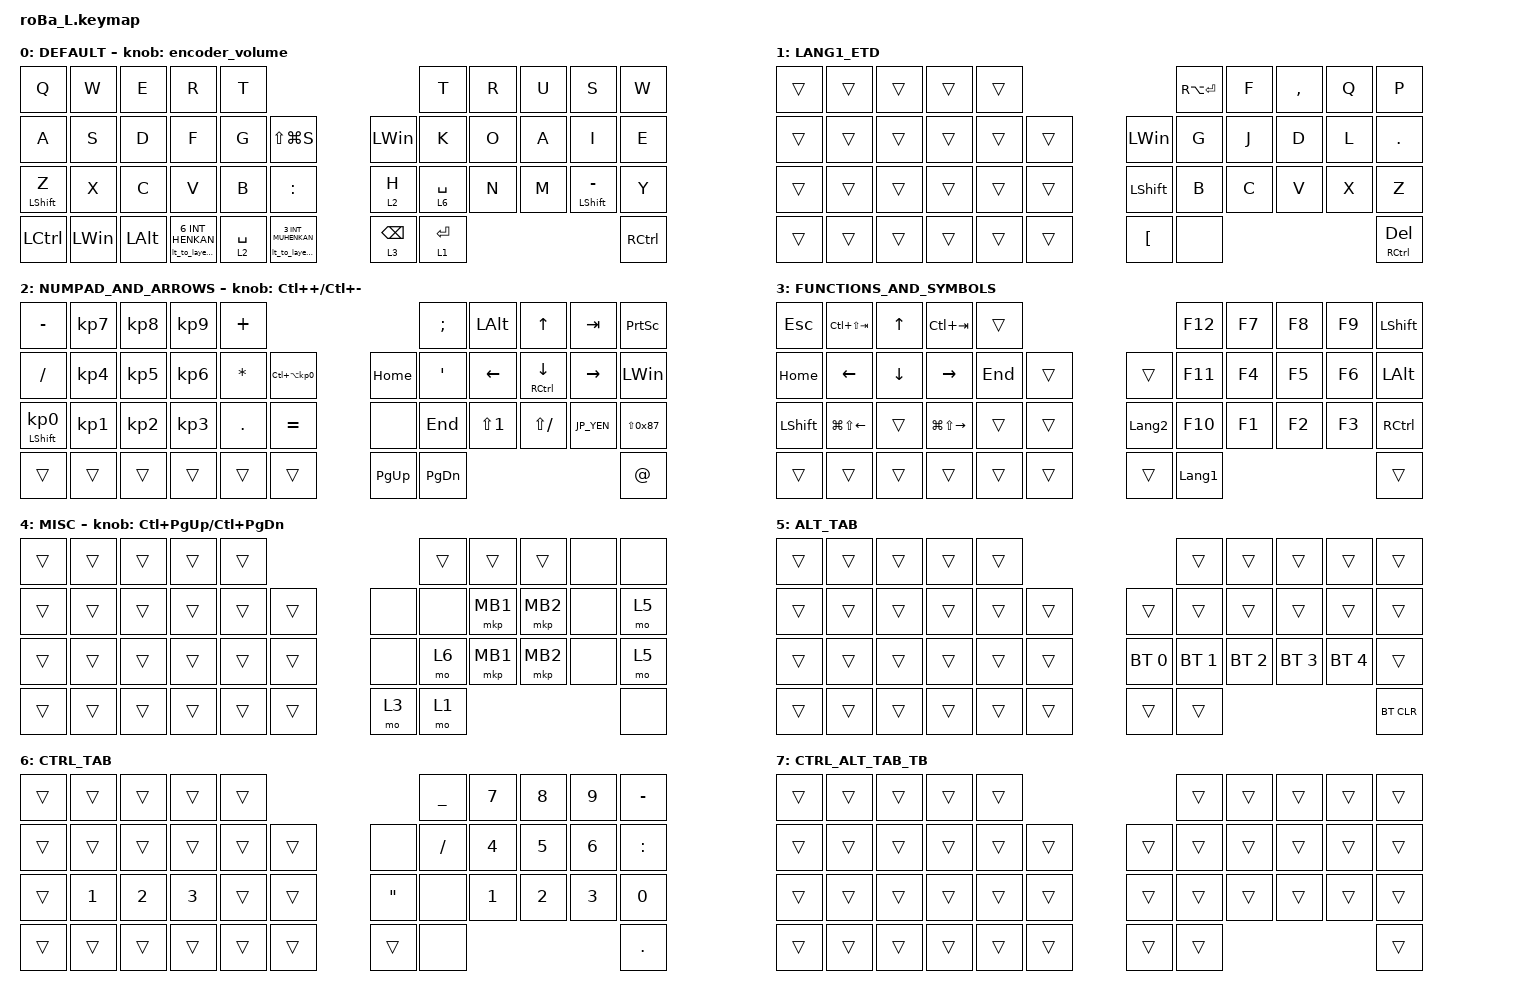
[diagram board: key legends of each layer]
#define ZMK_POINTING_DEFAULT_SCRL_VAL 100

// #define ZMK_POINTING_DEFAULT_MOVE_VAL 700

#include <input/processors.dtsi>
#include <behaviors/rgbled_widget.dtsi>
#include <behaviors.dtsi>
#include <dt-bindings/zmk/bt.h>
#include <dt-bindings/zmk/keys.h>
#include <dt-bindings/zmk/pointing.h>

#define DEFAULT 0
#define LANG1_ETD 1
#define NUMPAD_AND_ARROWS 2
#define FUNCTIONS_AND_SYMBOLS 3
#define MISC 4
#define ALT_TAB 5
#define CTRL_TAB 6
#define CTRL_ALT_TAB_TB 7
#define ALT_TAB_TB 8
#define CTRL_TAB_TB 9
#define MOUSE 10
#define MEDIA 11
#define EXTRA_FINCTIONS 12
#define CONFIGURATION 13

// OS設定を日本語キーボードのまま使用するための変換定義

#define JP_DQUOTE       AT                // "
#define JP_AMPERSAND    CARET             // &
#define JP_QUOTE        AMPERSAND         // '
#define JP_EQUAL        UNDER             // =
#define JP_CARET        EQUAL             // ^
#define JP_YEN          0x89              // ¥
#define JP_PLUS         COLON             // +
#define JP_TILDE        PLUS              // ~
#define JP_PIPE         LS(0x89)          // |
#define JP_AT           LEFT_BRACKET      // @
#define JP_COLON        SINGLE_QUOTE      // :
#define JP_ASTERISK     DOUBLE_QUOTES     // *
#define JP_BACKQUOTE    LEFT_BRACE        // `
#define JP_UNDERSCORE   LS(0x87)          // _
#define JP_LBRACKET     RIGHT_BRACKET     // [
#define JP_RBRACKET     BACKSLASH         // ]
#define JP_LPAREN       ASTERISK          // (
#define JP_RPAREN       LEFT_PARENTHESIS  // )
#define JP_LBRACE       RIGHT_BRACE       // {
#define JP_RBRACE       PIPE              // }
#define JP_KANA         LANGUAGE_1        // かな
#define JP_EISU         LANGUAGE_2        // 英数
#define JP_HANZEN       GRAVE             // 半角/全角

&mt {
    tapping-term-ms = <200>;
    quick-tap-ms = <250>;
    flavor = "balanced";
};

&lt {
    tapping-term-ms = <200>;
    quick-tap-ms = <250>;
    flavor = "balanced";
};

&sk { release-after-ms = <700>; };

&sl { release-after-ms = <1000>; };

&mkp_input_listener { input-processors = <&zip_temp_layer MOUSE 10000>; };

/ {
    layer_listeners {
        compatible = "zmk,layer-listeners";

        release_alt {
            layers = <ALT_TAB ALT_TAB_TB>;
            bindings = <&kt_on LEFT_ALT &kt_off LEFT_ALT>;
        };

        release_ctrl {
            layers = <CTRL_TAB CTRL_TAB_TB>;
            bindings = <&kt_on LCTRL &kt_off LCTRL>;
        };

        // AML_indicator {
        //     layers = <MOUSE>;
        //     bindings = <&kp LS(LA(LC(LG(H)))) &kp LS(LA(LC(LG(H))))>;
        // };
        // AML {
        //     layers = <MOUSE>;
        //     bindings = <&to MOUSE &none>;
        // };
    };

    combos {
        compatible = "zmk,combos";

        eq {
            bindings = <&kp EQUAL>;
            key-positions = <0 1>;
            layers = <2>;
        };

        Escape {
            bindings = <&kp ESCAPE>;
            key-positions = <0 1>;
        };

        hat {
            bindings = <&kp CARET>;
            key-positions = <10 11>;
            layers = <2>;
        };

        middle_click {
            bindings = <&mkp MCLK>;
            key-positions = <18 19>;
        };

        caps_word {
            bindings = <&caps_word>;
            key-positions = <22 33>;
        };

        dot_slash_backslash {
            bindings = <&kp BACKSLASH>;
            key-positions = <33 32>;
        };
    };

    macros {
        /omit-if-no-ref/

        exit_AML: exit_AML {
            compatible = "zmk,behavior-macro";
            wait-ms = <0>;
            tap-ms = <0>;
            #binding-cells = <0>;
            bindings = <&tog_off 0>;
        };

        /omit-if-no-ref/

        kp_exit_AML: kp_exit_AML {
            compatible = "zmk,behavior-macro-one-param";
            wait-ms = <0>;
            tap-ms = <0>;
            #binding-cells = <1>;
            bindings = <&macro_param_1to1 &kp MACRO_PLACEHOLDER &exit_AML>;
        };

        /omit-if-no-ref/

        mod_exit_AML: mod_exit_AML {
            compatible = "zmk,behavior-macro-one-param";
            wait-ms = <0>;
            tap-ms = <0>;
            #binding-cells = <1>;
            bindings =
                <&macro_press>,
                <&macro_param_1to1 &kp MACRO_PLACEHOLDER>,
                <&macro_tap>,
                <&exit_AML>,
                <&macro_pause_for_release>,
                <&macro_release>,
                <&macro_param_1to1 &kp MACRO_PLACEHOLDER>;
        };

        /omit-if-no-ref/

        mkp_exit_AML: mkp_exit_AML {
            compatible = "zmk,behavior-macro-one-param";
            #binding-cells = <1>;
            bindings =
                <&macro_press>,
                <&macro_param_1to1 &mkp MACRO_PLACEHOLDER>,
                <&macro_pause_for_release>,
                <&macro_release>,
                <&macro_param_1to1 &mkp MACRO_PLACEHOLDER>,
                <&macro_tap>,
                <&sl 0>;
        };

        /omit-if-no-ref/

        mo_exit_AML: mo_exit_AML {
            compatible = "zmk,behavior-macro-one-param";
            wait-ms = <0>;
            tap-ms = <0>;
            #binding-cells = <1>;
            bindings =
                <&macro_press>,
                <&macro_param_1to1 &mo MACRO_PLACEHOLDER>,
                <&macro_tap>,
                <&exit_AML>,
                <&macro_pause_for_release>,
                <&macro_release>,
                <&macro_param_1to1 &mo MACRO_PLACEHOLDER>,
                <&macro_tap>;
        };

        /omit-if-no-ref/

        mo_exit_alttab: mo_exit_alttab_ctrltab {
            compatible = "zmk,behavior-macro-one-param";
            wait-ms = <0>;
            tap-ms = <0>;
            #binding-cells = <1>;
            bindings =
                <&macro_press>,
                <&macro_param_1to1 &mo MACRO_PLACEHOLDER>,
                <&macro_tap>,
                <&macro_pause_for_release>,
                <&macro_release>,
                <&macro_param_1to1 &mo MACRO_PLACEHOLDER>,
                <&macro_tap>,
                <&tog_off 5 &tog_off 6>;
        };

        /omit-if-no-ref/

        kp_to: kp_to {
            compatible = "zmk,behavior-macro-two-param";
            wait-ms = <0>;
            tap-ms = <0>;
            #binding-cells = <2>;
            bindings = <&macro_param_1to1 &kp MACRO_PLACEHOLDER &macro_param_2to1 &to MACRO_PLACEHOLDER>;
        };

        /omit-if-no-ref/

        to_kp: to_kp {
            compatible = "zmk,behavior-macro-two-param";
            #binding-cells = <2>;
            bindings = <&macro_param_1to1 &to MACRO_PLACEHOLDER &macro_param_2to1 &kp MACRO_PLACEHOLDER>;
        };

        /omit-if-no-ref/

        zoom_in: zoom_in {
            compatible = "zmk,behavior-macro";
            #binding-cells = <0>;
            bindings = <&kt_on LCTRL &msc SCRL_UP &kt_off LCTRL>;
        };

        /omit-if-no-ref/

        zoom_out: zoom_out {
            compatible = "zmk,behavior-macro";
            #binding-cells = <0>;
            bindings = <&kt_on LCTRL &msc SCRL_DOWN &kt_off LCTRL>;
        };

        /omit-if-no-ref/

        eager_tap_dance: eager_tap_dance {
            compatible = "zmk,behavior-macro-two-param";
            #binding-cells = <2>;
            bindings =
                <&macro_press>,
                <&macro_param_1to1 &kp MACRO_PLACEHOLDER>,
                <&macro_pause_for_release>,
                <&macro_release>,
                <&macro_param_1to1 &kp MACRO_PLACEHOLDER>,
                <&macro_tap>,
                <&exit_AML &macro_param_2to1 &sl_250 MACRO_PLACEHOLDER>;
        };
    };

    behaviors {
        /omit-if-no-ref/

        tog_on: toggle_layer_on {
            compatible = "zmk,behavior-toggle-layer";
            #binding-cells = <1>;
            display-name = "Toggle Layer On";
            toggle-mode = "on";
        };

        /omit-if-no-ref/

        tog_off: toggle_layer_off {
            compatible = "zmk,behavior-toggle-layer";
            #binding-cells = <1>;
            display-name = "Toggle Layer Off";
            toggle-mode = "off";
        };

        /omit-if-no-ref/

        kt_on: key_toggle_on_only {
            compatible = "zmk,behavior-key-toggle";
            #binding-cells = <1>;
            display-name = "Key Toggle On";
            toggle-mode = "on";
        };

        /omit-if-no-ref/

        kt_off: key_toggle_off_only {
            compatible = "zmk,behavior-key-toggle";
            #binding-cells = <1>;
            display-name = "Key Toggle Off";
            toggle-mode = "off";
        };

        /omit-if-no-ref/

        td_right_click: td_right_click {
            compatible = "zmk,behavior-tap-dance";
            #binding-cells = <0>;
            bindings = <&mkp RCLK>, <&kp LC(W)>;

            tapping-term-ms = <250>;
        };

        /omit-if-no-ref/

        td_colon: td_colon {
            compatible = "zmk,behavior-tap-dance";
            #binding-cells = <0>;
            bindings = <&kp COLON>, <&kp SEMICOLON>;

            tapping-term-ms = <250>;
        };

        /omit-if-no-ref/

        td_q_escape: td_q_escape {
            compatible = "zmk,behavior-tap-dance";
            #binding-cells = <0>;
            tapping-term-ms = <250>;
            bindings = <&kp Q>, <&kp ESCAPE>;
        };

        /omit-if-no-ref/

        td_ZenkakuHankaku: td_ZenkakuHankaku {
            compatible = "zmk,behavior-tap-dance";

            // compatible = "zmk,behavior-eager-tap-dance";

            #binding-cells = <0>;
            tapping-term-ms = <250>;
            bindings = <&kp LANGUAGE_2>, <&kp LANGUAGE_1>;
        };

        /omit-if-no-ref/

        td_ZenkakuHankaku_exit_AML: td_ZenkakuHankaku_exit_AML {
            wait-ms = <0>;
            tap-ms = <0>;
            compatible = "zmk,behavior-macro";
            #binding-cells = <0>;
            bindings = <&td_ZenkakuHankaku &exit_AML>;
        };

        /omit-if-no-ref/

        alt_tab: alt_tab {
            compatible = "zmk,behavior-macro-two-param";
            #binding-cells = <2>;
            bindings = <&macro_param_1to1 &kt_on MACRO_PLACEHOLDER &macro_param_2to1 &kp MACRO_PLACEHOLDER &macro_param_1to1 &sk MACRO_PLACEHOLDER &macro_param_1to1 &kt_off MACRO_PLACEHOLDER>;
        };

        /omit-if-no-ref/

        windows_sleep: windows_sleep {
            compatible = "zmk,behavior-macro";
            wait-ms = <200>;
            tap-ms = <100>;
            #binding-cells = <0>;
            bindings = <&kp LG(X) &kp U &kp S>;
        };

        /omit-if-no-ref/

        screensot_save: screensot_save {
            compatible = "zmk,behavior-macro";
            #binding-cells = <0>;
            bindings = <&kp LS(F11)>;
            label = "SCREENSOT_SAVE";
        };

        /omit-if-no-ref/

        screenshot_copy: screenshot_copy {
            compatible = "zmk,behavior-mod-morph";
            bindings = <&kp LA(PRINTSCREEN)>, <&kp LA(PRINTSCREEN)>;

            #binding-cells = <0>;
            mods = <(MOD_LSFT|MOD_LALT)>;
            keep-mods = <(MOD_LALT)>;
        };

        /omit-if-no-ref/

        mod_morph_exclamation: mod_morph_exclamation {
            compatible = "zmk,behavior-mod-morph";
            bindings = <&kp COMMA>, <&kp EXCL>;

            #binding-cells = <0>;
            mods = <(MOD_LSFT)>;
        };

        /omit-if-no-ref/

        mod_morph_question: mod_morph_question {
            compatible = "zmk,behavior-mod-morph";
            bindings = <&kp PERIOD>, <&kp QUESTION>;

            #binding-cells = <0>;
            mods = <(MOD_LSFT)>;
        };

        /omit-if-no-ref/

        mod_morph_slash: mod_morph_slash {
            compatible = "zmk,behavior-mod-morph";
            bindings = <&kp SLASH>, <&kp BACKSLASH>;

            #binding-cells = <0>;
            mods = <(MOD_LSFT)>;
        };

        /omit-if-no-ref/

        td_alt_f4: td_alt_f4 {
            compatible = "zmk,behavior-tap-dance";
            #binding-cells = <0>;
            bindings = <&kp F4>, <&kp LA(F4)>;

            tapping-term-ms = <250>;
        };

        /omit-if-no-ref/

        lt_exit_AML: lt_exit_AML {
            compatible = "zmk,behavior-hold-tap";
            bindings = <&mo_exit_AML>, <&kp_exit_AML>;

            #binding-cells = <2>;
            tapping-term-ms = <200>;
            quick-tap-ms = <200>;
            flavor = "balanced";
        };

        /omit-if-no-ref/

        lt_exit_AML_on_hold: lt_exit_AML_on_hold {
            compatible = "zmk,behavior-hold-tap";
            bindings = <&mo_exit_AML>, <&kp>;

            #binding-cells = <2>;
            tapping-term-ms = <200>;
            quick-tap-ms = <200>;
            flavor = "balanced";
        };

        /omit-if-no-ref/

        lt_exit_alttab: lt_exit_alttab_ctrltab_on_hold_release {
            compatible = "zmk,behavior-hold-tap";
            bindings = <&mo_exit_alttab>, <&kp>;

            #binding-cells = <2>;
            tapping-term-ms = <200>;
            quick-tap-ms = <200>;
            flavor = "balanced";
        };

        /omit-if-no-ref/

        mt_exit_AML: mt_exit_AML {
            compatible = "zmk,behavior-hold-tap";
            bindings = <&mod_exit_AML>, <&kp_exit_AML>;

            #binding-cells = <2>;
            tapping-term-ms = <200>;
            flavor = "balanced";
            quick-tap-ms = <200>;
        };

        /omit-if-no-ref/

        mt_exit_AML_on_tap: mt_exit_AML_on_tap {
            compatible = "zmk,behavior-hold-tap";
            bindings = <&kp>, <&kp_exit_AML>;

            #binding-cells = <2>;
            tapping-term-ms = <200>;
            flavor = "balanced";
            quick-tap-ms = <200>;
        };

        /omit-if-no-ref/

        encoder_zoom: encoder_zoom {
            compatible = "zmk,behavior-sensor-rotate";
            #sensor-binding-cells = <0>;
            bindings = <&zoom_out>, <&zoom_in>;
        };

        /omit-if-no-ref/

        encoder_volume: encoder_volume {
            compatible = "zmk,behavior-sensor-rotate";
            #sensor-binding-cells = <0>;
            bindings = <&kp C_VOLUME_DOWN>, <&kp C_VOLUME_UP>;
        };

        /omit-if-no-ref/

        sl_250: sl_250 {
            compatible = "zmk,behavior-sticky-key";
            bindings = <&mo>;
            #binding-cells = <1>;
            release-after-ms = <250>;
        };

        /omit-if-no-ref/

        td_bt_clear: td_bt_clear {
            compatible = "zmk,behavior-tap-dance";
            #binding-cells = <0>;
            bindings = <&none>, <&none>, <&bt BT_CLR>;

            tapping-term-ms = <250>;
        };

        /omit-if-no-ref/

        td_bt_clear_all: td_bt_clear_all {
            compatible = "zmk,behavior-tap-dance";
            #binding-cells = <0>;
            tapping-term-ms = <250>;
            bindings = <&none>, <&none>, <&bt BT_CLR_ALL>;
        };

        /omit-if-no-ref/

        td_copy_paste: td_copy_paste {
            compatible = "zmk,behavior-tap-dance";
            #binding-cells = <0>;
            bindings = <&kp_exit_AML LC(C)>, <&kp_exit_AML LC(V)>;

            tapping-term-ms = <250>;
        };
    };

    keymap {
        compatible = "zmk,keymap";

        DEFAULT {
            bindings = <
&kp Q             &kp W         &kp E         &kp R                        &kp T                                                            &kp T        &kp R  &kp U  &kp S                 &kp W
&kp A             &kp S         &kp D         &kp F                        &kp G        &kp LS(LG(S))                      &kp LEFT_WIN     &kp K        &kp O  &kp A  &kp I                 &kp E
&mt LEFT_SHIFT Z  &kp X         &kp C         &kp V                        &kp B        &kp COLON                          &lt 2 H          &lt 6 SPACE  &kp N  &kp M  &mt LEFT_SHIFT MINUS  &kp Y
&kp LCTRL         &kp LEFT_WIN  &kp LEFT_ALT  &lt_to_layer_0 6 INT_HENKAN  &lt 2 SPACE  &lt_to_layer_0 3 INT_MUHENKAN      &lt 3 BACKSPACE  &lt 1 ENTER                                      &kp RCTRL
            >;

            sensor-bindings = <&encoder_volume>;
        };

        LANG1_ETD {
            bindings = <
&trans  &trans  &trans  &trans  &trans                              &kp RA(ENTER)  &kp F  &kp COMMA  &kp Q  &kp P
&trans  &trans  &trans  &trans  &trans  &trans      &kp LEFT_WIN    &kp G          &kp J  &kp D      &kp L  &kp PERIOD
&trans  &trans  &trans  &trans  &trans  &trans      &kp LEFT_SHIFT  &kp B          &kp C  &kp V      &kp X  &kp Z
&trans  &trans  &trans  &trans  &trans  &trans      &kp JP_AT       &none                                   &mt RCTRL DEL
            >;
        };

        NUMPAD_AND_ARROWS {
            bindings = <
&kp MINUS                   &kp KP_NUMBER_7  &kp KP_NUMBER_8  &kp KP_NUMBER_9  &kp PLUS                                                &kp SEMI       &kp LEFT_ALT      &kp UP_ARROW          &kp TAB          &kp PSCRN
&kp SLASH                   &kp KP_NUMBER_4  &kp KP_NUMBER_5  &kp KP_NUMBER_6  &kp ASTERISK  &kp LC(LA(KP_NUMBER_0))      &kp HOME     &kp JP_COLON   &kp LEFT_ARROW    &mt RCTRL DOWN_ARROW  &kp RIGHT_ARROW  &kp LEFT_WIN
&mt LEFT_SHIFT KP_NUMBER_0  &kp KP_NUMBER_1  &kp KP_NUMBER_2  &kp KP_NUMBER_3  &kp PERIOD    &kp EQUAL                    &none        &kp END        &kp LS(NUMBER_1)  &kp LS(SLASH)         &kp JP_YEN       &kp JP_UNDERSCORE
&trans                      &trans           &trans           &trans           &trans        &trans                       &kp PAGE_UP  &kp PAGE_DOWN                                                           &kp JP_DQUOTE
            >;

            sensor-bindings = <&inc_dec_kp LC(PLUS) LC(MINUS)>;
        };

        FUNCTIONS_AND_SYMBOLS {
            bindings = <
&kp ESCAPE      &kp LC(LS(TAB))         &kp UP_ARROW    &kp LC(TAB)              &trans                            &kp F12      &kp F7  &kp F8  &kp F9  &kp LEFT_SHIFT
&kp HOME        &kp LEFT_ARROW          &kp DOWN_ARROW  &kp RIGHT_ARROW          &kp END  &trans      &trans       &kp F11      &kp F4  &kp F5  &kp F6  &kp LEFT_ALT
&kp LEFT_SHIFT  &kp LG(LS(LEFT_ARROW))  &trans          &kp LG(LS(RIGHT_ARROW))  &trans   &trans      &kp JP_EISU  &kp F10      &kp F1  &kp F2  &kp F3  &kp RCTRL
&trans          &trans                  &trans          &trans                   &trans   &trans      &trans       &kp JP_KANA                          &trans
            >;
        };

        MISC {
            bindings = <
&trans  &trans  &trans  &trans  &trans                     &trans  &trans    &trans    &none  &none
&trans  &trans  &trans  &trans  &trans  &trans      &none  &none   &mkp MB1  &mkp MB2  &none  &mo 5
&trans  &trans  &trans  &trans  &trans  &trans      &none  &mo 6   &mkp MB1  &mkp MB2  &none  &mo 5
&trans  &trans  &trans  &trans  &trans  &trans      &mo 3  &mo 1                              &none
            >;

            sensor-bindings = <&inc_dec_kp LC(PAGE_UP) LC(PAGE_DOWN)>;
        };

        ALT_TAB {
            bindings = <
&trans  &trans  &trans  &trans  &trans                            &trans        &trans        &trans        &trans        &trans
&trans  &trans  &trans  &trans  &trans  &trans      &trans        &trans        &trans        &trans        &trans        &trans
&trans  &trans  &trans  &trans  &trans  &trans      &bt BT_SEL 0  &bt BT_SEL 1  &bt BT_SEL 2  &bt BT_SEL 3  &bt BT_SEL 4  &trans
&trans  &trans  &trans  &trans  &trans  &trans      &trans        &trans                                                  &bt BT_CLR
            >;
        };

        CTRL_TAB {
            bindings = <
&trans  &trans        &trans        &trans        &trans                               &kp JP_EQUAL  &kp N7        &kp N8        &kp N9        &kp MINUS
&trans  &trans        &trans        &trans        &trans  &trans      &none            &kp SLASH     &kp NUMBER_4  &kp N5        &kp NUMBER_6  &kp JP_PLUS
&trans  &kp NUMBER_1  &kp NUMBER_2  &kp NUMBER_3  &trans  &trans      &kp JP_ASTERISK  &none         &kp NUMBER_1  &kp NUMBER_2  &kp NUMBER_3  &kp N0
&trans  &trans        &trans        &trans        &trans  &trans      &trans           &none                                                   &kp PERIOD
            >;
        };

        CTRL_ALT_TAB_TB {
            bindings = <
&trans  &trans  &trans  &trans  &trans                      &trans  &trans  &trans  &trans  &trans
&trans  &trans  &trans  &trans  &trans  &trans      &trans  &trans  &trans  &trans  &trans  &trans
&trans  &trans  &trans  &trans  &trans  &trans      &trans  &trans  &trans  &trans  &trans  &trans
&trans  &trans  &trans  &trans  &trans  &trans      &trans  &trans                          &trans
            >;
        };
    };
};
